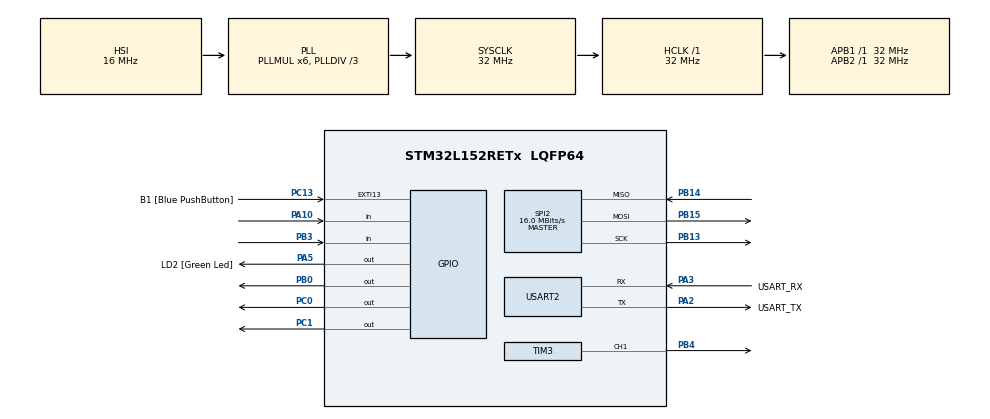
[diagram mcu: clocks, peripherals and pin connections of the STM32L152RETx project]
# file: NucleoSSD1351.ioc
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FREERTOS.Tasks01=defaultTask,0,128,StartDefaultTask,Default,NULL
Mcu.Family=STM32L1
Mcu.Name=STM32L152RETx
Mcu.Package=LQFP64
NVIC.PriorityGroup=NVIC_PRIORITYGROUP_4
NVIC.TIM2_IRQn=true\:0\:0\:false\:false\:true\:false\:false
NVIC.TimeBase=TIM2_IRQn
NVIC.TimeBaseIP=TIM2
PA10.Signal=GPIO_Input
PA13.GPIO_Label=TMS
PA13.Mode=Serial_Wire
PA13.Signal=SYS_JTMS-SWDIO
PA14.GPIO_Label=TCK
PA14.Mode=Serial_Wire
PA14.Signal=SYS_JTCK-SWCLK
PA2.GPIO_Label=USART_TX
PA2.Mode=Asynchronous
PA2.Signal=USART2_TX
PA3.GPIO_Label=USART_RX
PA3.Mode=Asynchronous
PA3.Signal=USART2_RX
PA5.GPIO_Label=LD2 [Green Led]
PA5.Signal=GPIO_Output
PB0.GPIO_PuPd=GPIO_PULLDOWN
PB0.Signal=GPIO_Output
PB13.Mode=Full_Duplex_Master
PB13.Signal=SPI2_SCK
PB14.Mode=Full_Duplex_Master
PB14.Signal=SPI2_MISO
PB15.Mode=Full_Duplex_Master
PB15.Signal=SPI2_MOSI
PB3.Signal=GPIO_Input
PB4.Signal=S_TIM3_CH1
PC0.GPIO_PuPd=GPIO_PULLDOWN
PC0.Signal=GPIO_Output
PC1.GPIO_PuPd=GPIO_PULLDOWN
PC1.Signal=GPIO_Output
PC13-WKUP2.GPIO_Label=B1 [Blue PushButton]
PC13-WKUP2.Signal=GPXTI13
PC14-OSC32_IN.Mode=LSE-External-Oscillator
PC14-OSC32_IN.Signal=RCC_OSC32_IN
PC15-OSC32_OUT.Mode=LSE-External-Oscillator
PC15-OSC32_OUT.Signal=RCC_OSC32_OUT
PH0-OSC_IN.Mode=HSE-External-Clock-Source
PH0-OSC_IN.Signal=RCC_OSC_IN
PH1-OSC_OUT.Signal=RCC_OSC_OUT
ProjectManager.HeapSize=0x200
ProjectManager.StackSize=0x400
ProjectManager.TargetToolchain=SW4STM32
RCC.48MHZClocksFreq_Value=48000000
RCC.AHBFreq_Value=32000000
RCC.APB1Freq_Value=32000000
RCC.APB1TimFreq_Value=32000000
RCC.APB2Freq_Value=32000000
RCC.APB2TimFreq_Value=32000000
RCC.HCLKFreq_Value=32000000
RCC.HSE_VALUE=8000000
RCC.HSI_VALUE=16000000
RCC.MSI_VALUE=2097000
RCC.PLLDIV=RCC_PLL_DIV3
RCC.PLLMUL=RCC_PLL_MUL6
RCC.RTCClockSelectionVirtual=RCC_RTCCLKSOURCE_LSE
RCC.SYSCLKFreq_VALUE=32000000
RCC.SYSCLKSource=RCC_SYSCLKSOURCE_PLLCLK
RCC.USBOutput=48000000
RCC.VCOOutputFreq_Value=96000000
SH.S_TIM3_CH1.0=TIM3_CH1,PWM Generation1 CH1
SPI2.CalculateBaudRate=16.0 MBits/s
SPI2.Direction=SPI_DIRECTION_2LINES
SPI2.Mode=SPI_MODE_MASTER
SPI2.VirtualType=VM_MASTER
TIM3.Channel-PWM\ Generation1\ CH1=TIM_CHANNEL_1
TIM3.Period=100-1
TIM3.Prescaler=1080-1
USART2.VirtualMode=VM_ASYNC
VP_FREERTOS_VS_ENABLE.Mode=Enabled
VP_SYS_VS_tim2.Mode=TIM2
board=NUCLEO-L152RE

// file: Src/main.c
/* USER CODE BEGIN Header */
/**
  ******************************************************************************
  * @file           : main.c
  * @brief          : Main program body
  ******************************************************************************
  * This notice applies to any and all portions of this file
  * that are not between comment pairs USER CODE BEGIN and
  * USER CODE END. Other portions of this file, whether
  * inserted by the user or by software development tools
  * are owned by their respective copyright owners.
  *
  * Copyright (c) 2019 STMicroelectronics International N.V.
  * All rights reserved.
  *
  * Redistribution and use in source and binary forms, with or without
  * modification, are permitted, provided that the following conditions are met:
  *
  * 1. Redistribution of source code must retain the above copyright notice,
  *    this list of conditions and the following disclaimer.
  * 2. Redistributions in binary form must reproduce the above copyright notice,
  *    this list of conditions and the following disclaimer in the documentation
  *    and/or other materials provided with the distribution.
  * 3. Neither the name of STMicroelectronics nor the names of other
  *    contributors to this software may be used to endorse or promote products
  *    derived from this software without specific written permission.
  * 4. This software, including modifications and/or derivative works of this
  *    software, must execute solely and exclusively on microcontroller or
  *    microprocessor devices manufactured by or for STMicroelectronics.
  * 5. Redistribution and use of this software other than as permitted under
  *    this license is void and will automatically terminate your rights under
  *    this license.
  *
  * THIS SOFTWARE IS PROVIDED BY STMICROELECTRONICS AND CONTRIBUTORS "AS IS"
  * AND ANY EXPRESS, IMPLIED OR STATUTORY WARRANTIES, INCLUDING, BUT NOT
  * LIMITED TO, THE IMPLIED WARRANTIES OF MERCHANTABILITY, FITNESS FOR A
  * PARTICULAR PURPOSE AND NON-INFRINGEMENT OF THIRD PARTY INTELLECTUAL PROPERTY
  * RIGHTS ARE DISCLAIMED TO THE FULLEST EXTENT PERMITTED BY LAW. IN NO EVENT
  * SHALL STMICROELECTRONICS OR CONTRIBUTORS BE LIABLE FOR ANY DIRECT, INDIRECT,
  * INCIDENTAL, SPECIAL, EXEMPLARY, OR CONSEQUENTIAL DAMAGES (INCLUDING, BUT NOT
  * LIMITED TO, PROCUREMENT OF SUBSTITUTE GOODS OR SERVICES; LOSS OF USE, DATA,
  * OR PROFITS; OR BUSINESS INTERRUPTION) HOWEVER CAUSED AND ON ANY THEORY OF
  * LIABILITY, WHETHER IN CONTRACT, STRICT LIABILITY, OR TORT (INCLUDING
  * NEGLIGENCE OR OTHERWISE) ARISING IN ANY WAY OUT OF THE USE OF THIS SOFTWARE,
  * EVEN IF ADVISED OF THE POSSIBILITY OF SUCH DAMAGE.
  *
  ******************************************************************************
  */
/* USER CODE END Header */

#include "main.h"
#include "cmsis_os.h"

/* USER CODE BEGIN Includes */
#include "gamesys.h"
#include "math.h"
#include "stdlib.h"

/* USER CODE END Includes */

SPI_HandleTypeDef hspi2;

TIM_HandleTypeDef htim3;

UART_HandleTypeDef huart2;

osThreadId defaultTaskHandle;

void SystemClock_Config(void);
static void MX_GPIO_Init(void);
static void MX_USART2_UART_Init(void);
static void MX_SPI2_Init(void);
static void MX_TIM3_Init(void);
void StartDefaultTask(void const * argument);

/* USER CODE BEGIN PFP */
void vToggleLED(void){
  HAL_GPIO_TogglePin(LD2_GPIO_Port, LD2_Pin);
}

void vTaskToggleLED(void *pvParameters){
  const TickType_t xToggleDelay = 500 / portTICK_PERIOD_MS;
  for( ;; ){
      vToggleLED();
      vTaskDelay(xToggleDelay);
  }
}

/*  Update Task for calculations and I/O Management */

void vTaskUpdate(void *pvParameters){
  static const TickType_t xUpDelay = 33 / portTICK_PERIOD_MS;
  for( ;; ){
      vTaskDelay(xUpDelay);
      vUpdate();
  }
}

/* Draw Task to update the screen */

void vTaskDraw(void *pvParameters){
  static const TickType_t xUpDelay = 33 / portTICK_PERIOD_MS;
  for( ;; ){
      vTaskDelay(xUpDelay);
      vDraw();
  }
}

/* Do sounds */

void vTaskAudio(void *pvParameters){
  const TickType_t xToggleDelay = 33 / portTICK_PERIOD_MS;
  for( ;; ){
      vOutputAudio();
      vTaskDelay(xToggleDelay);
  }
}

/* USER CODE END PFP */

/* USER CODE BEGIN 0 */
uint8_t randomint(int lower, int upper){
    uint8_t num = (rand() % (upper - lower + 1)) + lower;
    return num;
}
/* USER CODE END 0 */

int main(void)
{

  /* MCU Configuration--------------------------------------------------------*/

  /* Reset of all peripherals, Initializes the Flash interface and the Systick. */
  HAL_Init();

  /* Configure the system clock */
  SystemClock_Config();

  /* Initialize all configured peripherals */
  MX_GPIO_Init();
  MX_USART2_UART_Init();
  MX_SPI2_Init();
  MX_TIM3_Init();
  /* USER CODE BEGIN 2 */
  SSD1351_init();
  SSD1351_fill(COLOR_BLACK);
  SSD1351_update();
  vInitSys();
  /* USER CODE END 2 */

  /* Create the thread(s) */
  /* definition and creation of defaultTask */
  osThreadDef(defaultTask, StartDefaultTask, osPriorityNormal, 0, 128);
  defaultTaskHandle = osThreadCreate(osThread(defaultTask), NULL);

  /* USER CODE BEGIN RTOS_THREADS */
  /* add threads, ... */
  xTaskCreate( vTaskUpdate, "Update", 10, NULL, 1, NULL);
  xTaskCreate( vTaskToggleLED, "Led", 10, NULL, 0, NULL);
  xTaskCreate( vTaskDraw, "Draw", 200, NULL, 1, NULL);
  //xTaskCreate( vTaskAudio, "Audio", 10, NULL, 0, NULL);
  /* USER CODE END RTOS_THREADS */

  /* Start scheduler */
  osKernelStart();

  /* We should never get here as control is now taken by the scheduler */

  /* Infinite loop */
  while (1)
  {

  }
}

void SystemClock_Config(void)
{
  RCC_OscInitTypeDef RCC_OscInitStruct = {0};
  RCC_ClkInitTypeDef RCC_ClkInitStruct = {0};

  /**Configure the main internal regulator output voltage
  */
  __HAL_PWR_VOLTAGESCALING_CONFIG(PWR_REGULATOR_VOLTAGE_SCALE1);
  /**Initializes the CPU, AHB and APB busses clocks
  */
  RCC_OscInitStruct.OscillatorType = RCC_OSCILLATORTYPE_HSI;
  RCC_OscInitStruct.HSIState = RCC_HSI_ON;
  RCC_OscInitStruct.HSICalibrationValue = RCC_HSICALIBRATION_DEFAULT;
  RCC_OscInitStruct.PLL.PLLState = RCC_PLL_ON;
  RCC_OscInitStruct.PLL.PLLSource = RCC_PLLSOURCE_HSI;
  RCC_OscInitStruct.PLL.PLLMUL = RCC_PLL_MUL6;
  RCC_OscInitStruct.PLL.PLLDIV = RCC_PLL_DIV3;
  if (HAL_RCC_OscConfig(&RCC_OscInitStruct) != HAL_OK)
  {
    Error_Handler();
  }
  /**Initializes the CPU, AHB and APB busses clocks
  */
  RCC_ClkInitStruct.ClockType = RCC_CLOCKTYPE_HCLK|RCC_CLOCKTYPE_SYSCLK
                              |RCC_CLOCKTYPE_PCLK1|RCC_CLOCKTYPE_PCLK2;
  RCC_ClkInitStruct.SYSCLKSource = RCC_SYSCLKSOURCE_PLLCLK;
  RCC_ClkInitStruct.AHBCLKDivider = RCC_SYSCLK_DIV1;
  RCC_ClkInitStruct.APB1CLKDivider = RCC_HCLK_DIV1;
  RCC_ClkInitStruct.APB2CLKDivider = RCC_HCLK_DIV1;

  if (HAL_RCC_ClockConfig(&RCC_ClkInitStruct, FLASH_LATENCY_1) != HAL_OK)
  {
    Error_Handler();
  }
}

static void MX_SPI2_Init(void)
{

  /* SPI2 parameter configuration*/
  hspi2.Instance = SPI2;
  hspi2.Init.Mode = SPI_MODE_MASTER;
  hspi2.Init.Direction = SPI_DIRECTION_2LINES;
  hspi2.Init.DataSize = SPI_DATASIZE_8BIT;
  hspi2.Init.CLKPolarity = SPI_POLARITY_LOW;
  hspi2.Init.CLKPhase = SPI_PHASE_1EDGE;
  hspi2.Init.NSS = SPI_NSS_SOFT;
  hspi2.Init.BaudRatePrescaler = SPI_BAUDRATEPRESCALER_2;
  hspi2.Init.FirstBit = SPI_FIRSTBIT_MSB;
  hspi2.Init.TIMode = SPI_TIMODE_DISABLE;
  hspi2.Init.CRCCalculation = SPI_CRCCALCULATION_DISABLE;
  hspi2.Init.CRCPolynomial = 10;
  if (HAL_SPI_Init(&hspi2) != HAL_OK)
  {
    Error_Handler();
  }

}

static void MX_TIM3_Init(void)
{

  TIM_MasterConfigTypeDef sMasterConfig = {0};
  TIM_OC_InitTypeDef sConfigOC = {0};

  htim3.Instance = TIM3;
  htim3.Init.Prescaler = 1080-1;
  htim3.Init.CounterMode = TIM_COUNTERMODE_UP;
  htim3.Init.Period = 100-1;
  htim3.Init.ClockDivision = TIM_CLOCKDIVISION_DIV1;
  if (HAL_TIM_PWM_Init(&htim3) != HAL_OK)
  {
    Error_Handler();
  }
  sMasterConfig.MasterOutputTrigger = TIM_TRGO_RESET;
  sMasterConfig.MasterSlaveMode = TIM_MASTERSLAVEMODE_DISABLE;
  if (HAL_TIMEx_MasterConfigSynchronization(&htim3, &sMasterConfig) != HAL_OK)
  {
    Error_Handler();
  }
  sConfigOC.OCMode = TIM_OCMODE_PWM1;
  sConfigOC.Pulse = 0;
  sConfigOC.OCPolarity = TIM_OCPOLARITY_HIGH;
  sConfigOC.OCFastMode = TIM_OCFAST_DISABLE;
  if (HAL_TIM_PWM_ConfigChannel(&htim3, &sConfigOC, TIM_CHANNEL_1) != HAL_OK)
  {
    Error_Handler();
  }
  HAL_TIM_MspPostInit(&htim3);

}

static void MX_USART2_UART_Init(void)
{

  huart2.Instance = USART2;
  huart2.Init.BaudRate = 115200;
  huart2.Init.WordLength = UART_WORDLENGTH_8B;
  huart2.Init.StopBits = UART_STOPBITS_1;
  huart2.Init.Parity = UART_PARITY_NONE;
  huart2.Init.Mode = UART_MODE_TX_RX;
  huart2.Init.HwFlowCtl = UART_HWCONTROL_NONE;
  huart2.Init.OverSampling = UART_OVERSAMPLING_16;
  if (HAL_UART_Init(&huart2) != HAL_OK)
  {
    Error_Handler();
  }

}

static void MX_GPIO_Init(void)
{
  GPIO_InitTypeDef GPIO_InitStruct = {0};

  /* GPIO Ports Clock Enable */
  __HAL_RCC_GPIOC_CLK_ENABLE();
  __HAL_RCC_GPIOH_CLK_ENABLE();
  __HAL_RCC_GPIOA_CLK_ENABLE();
  __HAL_RCC_GPIOB_CLK_ENABLE();

  /*Configure GPIO pin Output Level */
  HAL_GPIO_WritePin(GPIOC, GPIO_PIN_0|GPIO_PIN_1, GPIO_PIN_RESET);

  /*Configure GPIO pin Output Level */
  HAL_GPIO_WritePin(LD2_GPIO_Port, LD2_Pin, GPIO_PIN_RESET);

  /*Configure GPIO pin Output Level */
  HAL_GPIO_WritePin(GPIOB, GPIO_PIN_0, GPIO_PIN_RESET);

  /*Configure GPIO pin : B1_Pin */
  GPIO_InitStruct.Pin = B1_Pin;
  GPIO_InitStruct.Mode = GPIO_MODE_IT_RISING;
  GPIO_InitStruct.Pull = GPIO_NOPULL;
  HAL_GPIO_Init(B1_GPIO_Port, &GPIO_InitStruct);

  /*Configure GPIO pins : PC0 PC1 */
  GPIO_InitStruct.Pin = GPIO_PIN_0|GPIO_PIN_1;
  GPIO_InitStruct.Mode = GPIO_MODE_OUTPUT_PP;
  GPIO_InitStruct.Pull = GPIO_PULLDOWN;
  GPIO_InitStruct.Speed = GPIO_SPEED_FREQ_LOW;
  HAL_GPIO_Init(GPIOC, &GPIO_InitStruct);

  /*Configure GPIO pin : LD2_Pin */
  GPIO_InitStruct.Pin = LD2_Pin;
  GPIO_InitStruct.Mode = GPIO_MODE_OUTPUT_PP;
  GPIO_InitStruct.Pull = GPIO_NOPULL;
  GPIO_InitStruct.Speed = GPIO_SPEED_FREQ_LOW;
  HAL_GPIO_Init(LD2_GPIO_Port, &GPIO_InitStruct);

  /*Configure GPIO pin : PB0 */
  GPIO_InitStruct.Pin = GPIO_PIN_0;
  GPIO_InitStruct.Mode = GPIO_MODE_OUTPUT_PP;
  GPIO_InitStruct.Pull = GPIO_PULLDOWN;
  GPIO_InitStruct.Speed = GPIO_SPEED_FREQ_LOW;
  HAL_GPIO_Init(GPIOB, &GPIO_InitStruct);

  /*Configure GPIO pin : PA10 */
  GPIO_InitStruct.Pin = GPIO_PIN_10;
  GPIO_InitStruct.Mode = GPIO_MODE_INPUT;
  GPIO_InitStruct.Pull = GPIO_NOPULL;
  HAL_GPIO_Init(GPIOA, &GPIO_InitStruct);

  /*Configure GPIO pin : PB3 */
  GPIO_InitStruct.Pin = GPIO_PIN_3;
  GPIO_InitStruct.Mode = GPIO_MODE_INPUT;
  GPIO_InitStruct.Pull = GPIO_NOPULL;
  HAL_GPIO_Init(GPIOB, &GPIO_InitStruct);

}

void StartDefaultTask(void const * argument)
{

  for(;;)
  {
    osDelay(1);
  }
}

void HAL_TIM_PeriodElapsedCallback(TIM_HandleTypeDef *htim)
{
  if (htim->Instance == TIM2) {
    HAL_IncTick();
  }
}

void Error_Handler(void)
{
}

/************************ (C) COPYRIGHT STMicroelectronics *****END OF FILE****/
